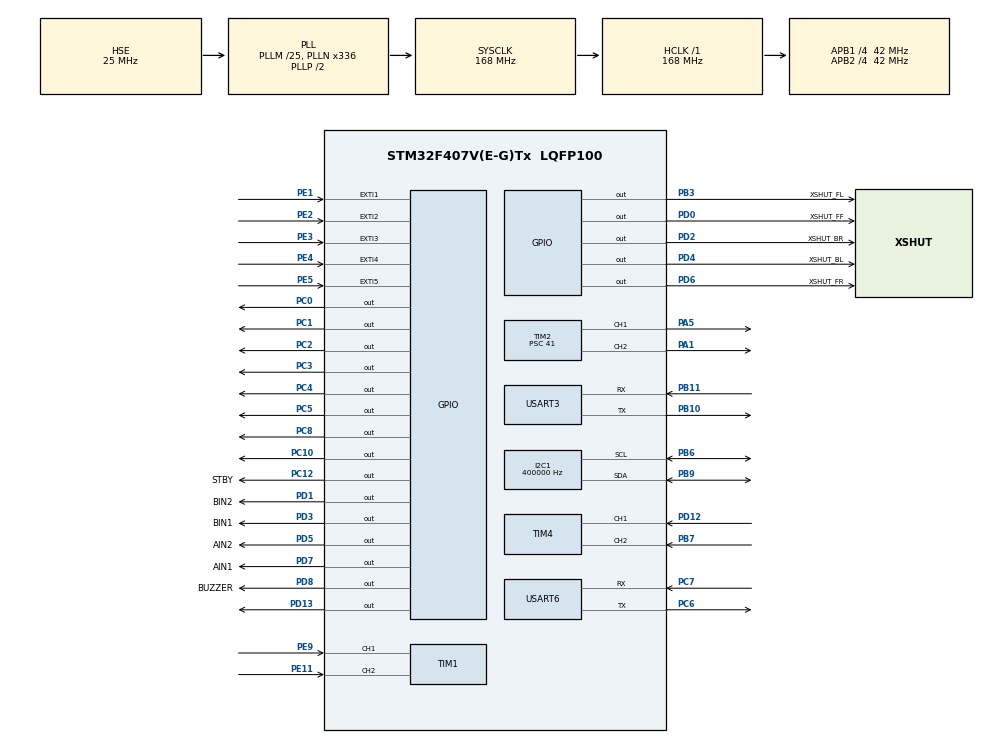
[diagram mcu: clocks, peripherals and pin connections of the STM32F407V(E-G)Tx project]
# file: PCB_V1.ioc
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Dma.Request0=USART3_RX
Dma.USART3_RX.0.Direction=DMA_PERIPH_TO_MEMORY
Dma.USART3_RX.0.FIFOMode=DMA_FIFOMODE_DISABLE
Dma.USART3_RX.0.Instance=DMA1_Stream1
Dma.USART3_RX.0.MemDataAlignment=DMA_MDATAALIGN_BYTE
Dma.USART3_RX.0.MemInc=DMA_MINC_ENABLE
Dma.USART3_RX.0.Mode=DMA_NORMAL
Dma.USART3_RX.0.PeriphDataAlignment=DMA_PDATAALIGN_BYTE
Dma.USART3_RX.0.PeriphInc=DMA_PINC_DISABLE
Dma.USART3_RX.0.Priority=DMA_PRIORITY_LOW
I2C1.AddressingMode=I2C_ADDRESSINGMODE_7BIT
I2C1.ClockSpeed=400000
I2C1.DualAddressMode=I2C_DUALADDRESS_DISABLE
I2C1.GeneralCallMode=I2C_GENERALCALL_DISABLE
I2C1.I2C_Mode=I2C_Fast
I2C1.NoStretchMode=I2C_NOSTRETCH_ENABLE
I2C1.OwnAddress=0
Mcu.Family=STM32F4
Mcu.Name=STM32F407V(E-G)Tx
Mcu.Package=LQFP100
NVIC.DMA1_Stream1_IRQn=true\:0\:0\:true\:false\:true\:false\:true\:true
NVIC.EXTI1_IRQn=true\:0\:0\:false\:false\:true\:true\:true\:true
NVIC.EXTI2_IRQn=true\:0\:0\:false\:false\:true\:true\:true\:true
NVIC.EXTI3_IRQn=true\:0\:0\:false\:false\:true\:true\:true\:true
NVIC.EXTI4_IRQn=true\:0\:0\:false\:false\:true\:true\:true\:true
NVIC.EXTI9_5_IRQn=true\:0\:0\:false\:false\:true\:true\:true\:true
NVIC.PriorityGroup=NVIC_PRIORITYGROUP_4
NVIC.TIM1_BRK_TIM9_IRQn=true\:2\:0\:true\:false\:true\:true\:true\:true
NVIC.TIM1_UP_TIM10_IRQn=true\:3\:0\:true\:false\:true\:true\:true\:true
PA1.Signal=S_TIM2_CH2
PA13.Mode=Serial_Wire
PA13.Signal=SYS_JTMS-SWDIO
PA14.Mode=Serial_Wire
PA14.Signal=SYS_JTCK-SWCLK
PA5.Signal=S_TIM2_CH1_ETR
PB10.GPIO_PuPd=GPIO_PULLUP
PB10.Mode=Asynchronous
PB10.Signal=USART3_TX
PB11.GPIO_PuPd=GPIO_PULLUP
PB11.Mode=Asynchronous
PB11.Signal=USART3_RX
PB3.GPIO_Label=XSHUT_FL
PB3.Signal=GPIO_Output
PB6.GPIO_Pu=GPIO_NOPULL
PB6.Mode=I2C
PB6.Signal=I2C1_SCL
PB7.Signal=S_TIM4_CH2
PB9.GPIO_Pu=GPIO_NOPULL
PB9.Mode=I2C
PB9.Signal=I2C1_SDA
PC0.Signal=GPIO_Output
PC1.Signal=GPIO_Output
PC10.Signal=GPIO_Output
PC12.GPIO_Label=STBY
PC12.Signal=GPIO_Output
PC2.Signal=GPIO_Output
PC3.Signal=GPIO_Output
PC4.Signal=GPIO_Output
PC5.Signal=GPIO_Output
PC6.Mode=Asynchronous
PC6.Signal=USART6_TX
PC7.Mode=Asynchronous
PC7.Signal=USART6_RX
PC8.Signal=GPIO_Output
PD0.GPIO_Label=XSHUT_FF
PD0.Signal=GPIO_Output
PD1.GPIO_Label=BIN2
PD1.Signal=GPIO_Output
PD12.Signal=S_TIM4_CH1
PD13.Signal=GPIO_Output
PD2.GPIO_Label=XSHUT_BR
PD2.Signal=GPIO_Output
PD3.GPIO_Label=BIN1
PD3.Signal=GPIO_Output
PD4.GPIO_Label=XSHUT_BL
PD4.Signal=GPIO_Output
PD5.GPIO_Label=AIN2
PD5.Signal=GPIO_Output
PD6.GPIO_Label=XSHUT_FR
PD6.Signal=GPIO_Output
PD7.GPIO_Label=AIN1
PD7.Signal=GPIO_Output
PD8.GPIO_Label=BUZZER
PD8.GPIO_ModeDefaultOutputPP=GPIO_MODE_OUTPUT_OD
PD8.GPIO_PuPd=GPIO_NOPULL
PD8.PinState=GPIO_PIN_SET
PD8.Signal=GPIO_Output
PE1.Signal=GPXTI1
PE11.Signal=S_TIM1_CH2
PE2.Signal=GPXTI2
PE3.Signal=GPXTI3
PE4.Signal=GPXTI4
PE5.Signal=GPXTI5
PE9.Signal=S_TIM1_CH1
PH0-OSC_IN.Mode=HSE-External-Oscillator
PH0-OSC_IN.Signal=RCC_OSC_IN
PH1-OSC_OUT.Mode=HSE-External-Oscillator
PH1-OSC_OUT.Signal=RCC_OSC_OUT
ProjectManager.HeapSize=0x200
ProjectManager.StackSize=0x400
ProjectManager.TargetToolchain=Makefile
RCC.48MHZClocksFreq_Value=84000000
RCC.AHBFreq_Value=168000000
RCC.APB1CLKDivider=RCC_HCLK_DIV4
RCC.APB1Freq_Value=42000000
RCC.APB1TimFreq_Value=84000000
RCC.APB2CLKDivider=RCC_HCLK_DIV4
RCC.APB2Freq_Value=42000000
RCC.APB2TimFreq_Value=84000000
RCC.CortexFreq_Value=168000000
RCC.FLatency=FLASH_LATENCY_5
RCC.HCLKFreq_Value=168000000
RCC.HSE_VALUE=25000000
RCC.HSI_VALUE=16000000
RCC.LSE_VALUE=32768
RCC.PLLM=25
RCC.PLLN=336
RCC.PLLSourceVirtual=RCC_PLLSOURCE_HSE
RCC.SYSCLKFreq_VALUE=168000000
RCC.SYSCLKSource=RCC_SYSCLKSOURCE_PLLCLK
RCC.VCOOutputFreq_Value=336000000
SH.S_TIM1_CH1.0=TIM1_CH1,Encoder_Interface
SH.S_TIM1_CH2.0=TIM1_CH2,Encoder_Interface
SH.S_TIM2_CH1_ETR.0=TIM2_CH1,PWM Generation1 CH1
SH.S_TIM2_CH2.0=TIM2_CH2,PWM Generation2 CH2
SH.S_TIM4_CH1.0=TIM4_CH1,Encoder_Interface
SH.S_TIM4_CH2.0=TIM4_CH2,Encoder_Interface
TIM1.AutoReloadPreload=TIM_AUTORELOAD_PRELOAD_ENABLE
TIM1.IC1Filter=10
TIM10.Period=200
TIM10.Prescaler=8399
TIM2.AutoReloadPreload=TIM_AUTORELOAD_PRELOAD_ENABLE
TIM2.Channel-PWM\ Generation1\ CH1=TIM_CHANNEL_1
TIM2.Channel-PWM\ Generation2\ CH2=TIM_CHANNEL_2
TIM2.ClockDivision=TIM_CLOCKDIVISION_DIV1
TIM2.CounterMode=TIM_COUNTERMODE_UP
TIM2.OC1Preload_PWM=ENABLE
TIM2.OC2Preload_PWM=ENABLE
TIM2.OCFastMode_PWM-PWM\ Generation1\ CH1=TIM_OCFAST_DISABLE
TIM2.OCFastMode_PWM-PWM\ Generation2\ CH2=TIM_OCFAST_DISABLE
TIM2.OCMode_PWM-PWM\ Generation1\ CH1=TIM_OCMODE_PWM1
TIM2.OCMode_PWM-PWM\ Generation2\ CH2=TIM_OCMODE_PWM1
TIM2.OCPolarity_1=TIM_OCPOLARITY_HIGH
TIM2.OCPolarity_2=TIM_OCPOLARITY_HIGH
TIM2.Period=99
TIM2.Prescaler=41
TIM2.Pulse-PWM\ Generation1\ CH1=0
TIM2.Pulse-PWM\ Generation2\ CH2=0
TIM2.TIM_MasterOutputTrigger=TIM_TRGO_RESET
TIM2.TIM_MasterSlaveMode=TIM_MASTERSLAVEMODE_DISABLE
TIM4.AutoReloadPreload=TIM_AUTORELOAD_PRELOAD_ENABLE
TIM4.IC1Filter=10
TIM4.IC1Polarity=TIM_ICPOLARITY_FALLING
TIM9.Period=250
TIM9.Prescaler=8399
USART3.VirtualMode=VM_ASYNC
USART6.VirtualMode=VM_ASYNC
VP_TIM10_VS_ClockSourceINT.Mode=Enable_Timer
VP_TIM2_VS_ClockSourceINT.Mode=Internal
VP_TIM9_VS_ClockSourceINT.Mode=Internal
board=custom

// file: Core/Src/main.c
/* USER CODE BEGIN Header */
/**
 ******************************************************************************
 * @file           : main.c
 * @brief          : Main program body
 ******************************************************************************
 * @attention
 *
 * Copyright (c) 2023 STMicroelectronics.
 * All rights reserved.
 *
 * This software is licensed under terms that can be found in the LICENSE file
 * in the root directory of this software component.
 * If no LICENSE file comes with this software, it is provided AS-IS.
 *
 ******************************************************************************
 */
/* USER CODE END Header */
#include "main.h"

/* USER CODE BEGIN Includes */
// #include "stdio.h"

#include "AML_MPUSensor.h"
#include "AML_LaserSensor.h"
#include "AML_Keyboard.h"
#include "AML_Encoder.h"
#include "AML_MotorControl.h"
#include "AML_DebugDevice.h"
#include "AML_Remote.h"
#include "AML_Parameter.h"

// #include "flood.h"
#include "solver.h"
// #include "AML_Remote.h"
/* USER CODE END Includes */

I2C_HandleTypeDef hi2c1;

TIM_HandleTypeDef htim1;
TIM_HandleTypeDef htim2;
TIM_HandleTypeDef htim4;
TIM_HandleTypeDef htim9;
TIM_HandleTypeDef htim10;

UART_HandleTypeDef huart3;
UART_HandleTypeDef huart6;
DMA_HandleTypeDef hdma_usart3_rx;

/* USER CODE BEGIN PV */
uint8_t ButtonPressed;

int16_t debug[100];
uint8_t checkWorking[] = {0xFF, 0xAA, 0x52};

// 1 to turn on, 0 to turn off

volatile uint8_t ReadButton;
volatile uint8_t RemarkAfterTurnMode = 1;
volatile uint8_t RemarkWallMode = 1;
volatile uint8_t RemarkAfterBackwardMode = 1;

volatile uint8_t CalibBeforeTurn = 1;
volatile uint8_t CalibAfterTurn = 1;

double testAngle;
// int16_t LeftValue, RightValue;
double LeftSpeed, RightSpeed;

uint32_t delay = 500;

///////////////////////////////////////////////////////////////////////////////////////////////////////////////////

// // choose which algorithm to use in the beginning of the run
// int algorithm;
// struct dist_maze distances;
// struct wall_maze cell_walls_info;
// struct stack update_stack;
// struct stack move_queue;

/* USER CODE END PV */

void SystemClock_Config(void);
static void MX_GPIO_Init(void);
static void MX_DMA_Init(void);
static void MX_I2C1_Init(void);
static void MX_TIM2_Init(void);
static void MX_USART3_UART_Init(void);
static void MX_TIM1_Init(void);
static void MX_TIM4_Init(void);
static void MX_USART6_UART_Init(void);
static void MX_TIM9_Init(void);
static void MX_TIM10_Init(void);
/* USER CODE BEGIN PFP */
void TestLaser(void);
void TestMotor(void);
void TestMPU(void);
void TestTurning(void);
void EncoderTest(void);
void TestMPUFollow(void);
void SystemTest(void);

void TurnOnRemarkAfterTurn(void);
void TurnOffRemarkAfterTurn(void);

void TurnOnRemarkWall(void);
void TurnOffRemarkWall(void);

void SetTicks(void);

void TestMode(void);
void RemarkMode(void);

void Run(int);
void ShortestPath(void);
void RunMode(void);

void RunNewAlgorithm(void);

/* USER CODE END PFP */

/* USER CODE BEGIN 0 */
// int fputc(int ch, FILE *f)
// {
//   ITM_SendChar(ch); // send method for SWV
//   return (ch);
// }

////////////////////////////////////////////////////////////////////////////////////////////////

/* USER CODE END 0 */

int main(void)
{

  /* MCU Configuration--------------------------------------------------------*/

  /* Reset of all peripherals, Initializes the Flash interface and the Systick. */
  HAL_Init();

  /* Configure the system clock */
  SystemClock_Config();

  /* Initialize all configured peripherals */
  MX_GPIO_Init();
  MX_DMA_Init();
  MX_I2C1_Init();
  MX_TIM2_Init();
  MX_USART3_UART_Init();
  MX_TIM1_Init();
  MX_TIM4_Init();
  MX_USART6_UART_Init();
  MX_TIM9_Init();
  MX_TIM10_Init();
  /* USER CODE BEGIN 2 */
  AML_MPUSensor_Setup();
  // AML_Keyboard_Setup();
  AML_LaserSensor_Setup();
  AML_Encoder_Setup();
  AML_MotorControl_Setup();
  AML_Remote_Setup();

  HAL_TIM_Base_Start_IT(&htim10);

  ReadButton = 8;

  for (int i = 0; i < 3; i++)
  {
    AML_LaserSensor_ReadAll();
    HAL_Delay(35);
  }

  AML_LaserSensor_ReadAll();
  AML_LaserSensor_ReadAll();
  AML_LaserSensor_ReadAll();

  AML_DebugDevice_BuzzerBeep(20);

  // AML_DebugDevice_TurnOnIT();

  // HAL_Delay(5000);

  // AML_DebugDevice_TurnOffIT();

  /* USER CODE END 2 */

  /* Infinite loop */
  /* USER CODE BEGIN WHILE */
  while (1)
  {
    if (ButtonPressed)
    {
      AML_DebugDevice_BuzzerBeep(20);
      ButtonPressed = 0;
    }

    // AML_LaserSensor_ReadAll();
    for (int i = 0; i < 5; i++)
    {
      debug[i] = AML_LaserSensor_ReadSingleWithFillter(i);
    }

    // AML_LaserSensor_ReadAll();

    // AML_LaserSensor_ReadSingleWithFillter(FF);

    if (ReadButton == 0) // set left wall value
    {
      SetTicks();
      ReadButton = 8;
    }
    else if (ReadButton == 1) // set right wall value
    {
      RemarkMode();
      ReadButton = 8;
    }
    else if (ReadButton == 2)
    {
      TestMode();
      ReadButton = 8;
    }
    else if (ReadButton == 3)
    {
      ReadButton = 8;
      AML_MotorControl_MoveForward(100, 10);
    }
    else if (ReadButton == 4)
    {
      // RunMode();
      ReadButton = 8;
      RunNewAlgorithm();

      // AML_MotorControl_TurnOnWallFollow();
    }

    testAngle = AML_MPUSensor_GetAngle();

    // AML_MotorControl_LeftPWM(-6);
    // AML_MotorControl_RightPWM(6);

    // debug[13] = AML_Encoder_GetLeftValue();
    // debug[14] = AML_Encoder_GetRightValue();

    /* USER CODE END WHILE */

  }
}

void SystemClock_Config(void)
{
  RCC_OscInitTypeDef RCC_OscInitStruct = {0};
  RCC_ClkInitTypeDef RCC_ClkInitStruct = {0};

  /** Configure the main internal regulator output voltage
   */
  __HAL_RCC_PWR_CLK_ENABLE();
  __HAL_PWR_VOLTAGESCALING_CONFIG(PWR_REGULATOR_VOLTAGE_SCALE1);

  /** Initializes the RCC Oscillators according to the specified parameters
   * in the RCC_OscInitTypeDef structure.
   */
  RCC_OscInitStruct.OscillatorType = RCC_OSCILLATORTYPE_HSE;
  RCC_OscInitStruct.HSEState = RCC_HSE_ON;
  RCC_OscInitStruct.PLL.PLLState = RCC_PLL_ON;
  RCC_OscInitStruct.PLL.PLLSource = RCC_PLLSOURCE_HSE;
  RCC_OscInitStruct.PLL.PLLM = 25;
  RCC_OscInitStruct.PLL.PLLN = 336;
  RCC_OscInitStruct.PLL.PLLP = RCC_PLLP_DIV2;
  RCC_OscInitStruct.PLL.PLLQ = 4;
  if (HAL_RCC_OscConfig(&RCC_OscInitStruct) != HAL_OK)
  {
    Error_Handler();
  }

  /** Initializes the CPU, AHB and APB buses clocks
   */
  RCC_ClkInitStruct.ClockType = RCC_CLOCKTYPE_HCLK | RCC_CLOCKTYPE_SYSCLK | RCC_CLOCKTYPE_PCLK1 | RCC_CLOCKTYPE_PCLK2;
  RCC_ClkInitStruct.SYSCLKSource = RCC_SYSCLKSOURCE_PLLCLK;
  RCC_ClkInitStruct.AHBCLKDivider = RCC_SYSCLK_DIV1;
  RCC_ClkInitStruct.APB1CLKDivider = RCC_HCLK_DIV4;
  RCC_ClkInitStruct.APB2CLKDivider = RCC_HCLK_DIV4;

  if (HAL_RCC_ClockConfig(&RCC_ClkInitStruct, FLASH_LATENCY_5) != HAL_OK)
  {
    Error_Handler();
  }
}

static void MX_I2C1_Init(void)
{

  hi2c1.Instance = I2C1;
  hi2c1.Init.ClockSpeed = 400000;
  hi2c1.Init.DutyCycle = I2C_DUTYCYCLE_2;
  hi2c1.Init.OwnAddress1 = 0;
  hi2c1.Init.AddressingMode = I2C_ADDRESSINGMODE_7BIT;
  hi2c1.Init.DualAddressMode = I2C_DUALADDRESS_DISABLE;
  hi2c1.Init.OwnAddress2 = 0;
  hi2c1.Init.GeneralCallMode = I2C_GENERALCALL_DISABLE;
  hi2c1.Init.NoStretchMode = I2C_NOSTRETCH_ENABLE;
  if (HAL_I2C_Init(&hi2c1) != HAL_OK)
  {
    Error_Handler();
  }
}

static void MX_TIM1_Init(void)
{

  TIM_Encoder_InitTypeDef sConfig = {0};
  TIM_MasterConfigTypeDef sMasterConfig = {0};

  htim1.Instance = TIM1;
  htim1.Init.Prescaler = 0;
  htim1.Init.CounterMode = TIM_COUNTERMODE_UP;
  htim1.Init.Period = 65535;
  htim1.Init.ClockDivision = TIM_CLOCKDIVISION_DIV1;
  htim1.Init.RepetitionCounter = 0;
  htim1.Init.AutoReloadPreload = TIM_AUTORELOAD_PRELOAD_ENABLE;
  sConfig.EncoderMode = TIM_ENCODERMODE_TI1;
  sConfig.IC1Polarity = TIM_ICPOLARITY_RISING;
  sConfig.IC1Selection = TIM_ICSELECTION_DIRECTTI;
  sConfig.IC1Prescaler = TIM_ICPSC_DIV1;
  sConfig.IC1Filter = 10;
  sConfig.IC2Polarity = TIM_ICPOLARITY_RISING;
  sConfig.IC2Selection = TIM_ICSELECTION_DIRECTTI;
  sConfig.IC2Prescaler = TIM_ICPSC_DIV1;
  sConfig.IC2Filter = 0;
  if (HAL_TIM_Encoder_Init(&htim1, &sConfig) != HAL_OK)
  {
    Error_Handler();
  }
  sMasterConfig.MasterOutputTrigger = TIM_TRGO_RESET;
  sMasterConfig.MasterSlaveMode = TIM_MASTERSLAVEMODE_DISABLE;
  if (HAL_TIMEx_MasterConfigSynchronization(&htim1, &sMasterConfig) != HAL_OK)
  {
    Error_Handler();
  }
}

static void MX_TIM2_Init(void)
{

  TIM_ClockConfigTypeDef sClockSourceConfig = {0};
  TIM_MasterConfigTypeDef sMasterConfig = {0};
  TIM_OC_InitTypeDef sConfigOC = {0};

  htim2.Instance = TIM2;
  htim2.Init.Prescaler = 41;
  htim2.Init.CounterMode = TIM_COUNTERMODE_UP;
  htim2.Init.Period = 99;
  htim2.Init.ClockDivision = TIM_CLOCKDIVISION_DIV1;
  htim2.Init.AutoReloadPreload = TIM_AUTORELOAD_PRELOAD_ENABLE;
  if (HAL_TIM_Base_Init(&htim2) != HAL_OK)
  {
    Error_Handler();
  }
  sClockSourceConfig.ClockSource = TIM_CLOCKSOURCE_INTERNAL;
  if (HAL_TIM_ConfigClockSource(&htim2, &sClockSourceConfig) != HAL_OK)
  {
    Error_Handler();
  }
  if (HAL_TIM_PWM_Init(&htim2) != HAL_OK)
  {
    Error_Handler();
  }
  sMasterConfig.MasterOutputTrigger = TIM_TRGO_RESET;
  sMasterConfig.MasterSlaveMode = TIM_MASTERSLAVEMODE_DISABLE;
  if (HAL_TIMEx_MasterConfigSynchronization(&htim2, &sMasterConfig) != HAL_OK)
  {
    Error_Handler();
  }
  sConfigOC.OCMode = TIM_OCMODE_PWM1;
  sConfigOC.Pulse = 0;
  sConfigOC.OCPolarity = TIM_OCPOLARITY_HIGH;
  sConfigOC.OCFastMode = TIM_OCFAST_DISABLE;
  if (HAL_TIM_PWM_ConfigChannel(&htim2, &sConfigOC, TIM_CHANNEL_1) != HAL_OK)
  {
    Error_Handler();
  }
  if (HAL_TIM_PWM_ConfigChannel(&htim2, &sConfigOC, TIM_CHANNEL_2) != HAL_OK)
  {
    Error_Handler();
  }
  HAL_TIM_MspPostInit(&htim2);
}

static void MX_TIM4_Init(void)
{

  TIM_Encoder_InitTypeDef sConfig = {0};
  TIM_MasterConfigTypeDef sMasterConfig = {0};

  htim4.Instance = TIM4;
  htim4.Init.Prescaler = 0;
  htim4.Init.CounterMode = TIM_COUNTERMODE_UP;
  htim4.Init.Period = 65535;
  htim4.Init.ClockDivision = TIM_CLOCKDIVISION_DIV1;
  htim4.Init.AutoReloadPreload = TIM_AUTORELOAD_PRELOAD_ENABLE;
  sConfig.EncoderMode = TIM_ENCODERMODE_TI1;
  sConfig.IC1Polarity = TIM_ICPOLARITY_FALLING;
  sConfig.IC1Selection = TIM_ICSELECTION_DIRECTTI;
  sConfig.IC1Prescaler = TIM_ICPSC_DIV1;
  sConfig.IC1Filter = 10;
  sConfig.IC2Polarity = TIM_ICPOLARITY_RISING;
  sConfig.IC2Selection = TIM_ICSELECTION_DIRECTTI;
  sConfig.IC2Prescaler = TIM_ICPSC_DIV1;
  sConfig.IC2Filter = 0;
  if (HAL_TIM_Encoder_Init(&htim4, &sConfig) != HAL_OK)
  {
    Error_Handler();
  }
  sMasterConfig.MasterOutputTrigger = TIM_TRGO_RESET;
  sMasterConfig.MasterSlaveMode = TIM_MASTERSLAVEMODE_DISABLE;
  if (HAL_TIMEx_MasterConfigSynchronization(&htim4, &sMasterConfig) != HAL_OK)
  {
    Error_Handler();
  }
}

static void MX_TIM9_Init(void)
{

  TIM_ClockConfigTypeDef sClockSourceConfig = {0};

  htim9.Instance = TIM9;
  htim9.Init.Prescaler = 8399;
  htim9.Init.CounterMode = TIM_COUNTERMODE_UP;
  htim9.Init.Period = 250;
  htim9.Init.ClockDivision = TIM_CLOCKDIVISION_DIV1;
  htim9.Init.AutoReloadPreload = TIM_AUTORELOAD_PRELOAD_DISABLE;
  if (HAL_TIM_Base_Init(&htim9) != HAL_OK)
  {
    Error_Handler();
  }
  sClockSourceConfig.ClockSource = TIM_CLOCKSOURCE_INTERNAL;
  if (HAL_TIM_ConfigClockSource(&htim9, &sClockSourceConfig) != HAL_OK)
  {
    Error_Handler();
  }
}

static void MX_TIM10_Init(void)
{

  htim10.Instance = TIM10;
  htim10.Init.Prescaler = 8399;
  htim10.Init.CounterMode = TIM_COUNTERMODE_UP;
  htim10.Init.Period = 200;
  htim10.Init.ClockDivision = TIM_CLOCKDIVISION_DIV1;
  htim10.Init.AutoReloadPreload = TIM_AUTORELOAD_PRELOAD_DISABLE;
  if (HAL_TIM_Base_Init(&htim10) != HAL_OK)
  {
    Error_Handler();
  }
}

static void MX_USART3_UART_Init(void)
{

  huart3.Instance = USART3;
  huart3.Init.BaudRate = 115200;
  huart3.Init.WordLength = UART_WORDLENGTH_8B;
  huart3.Init.StopBits = UART_STOPBITS_1;
  huart3.Init.Parity = UART_PARITY_NONE;
  huart3.Init.Mode = UART_MODE_TX_RX;
  huart3.Init.HwFlowCtl = UART_HWCONTROL_NONE;
  huart3.Init.OverSampling = UART_OVERSAMPLING_16;
  if (HAL_UART_Init(&huart3) != HAL_OK)
  {
    Error_Handler();
  }
}

static void MX_USART6_UART_Init(void)
{

  huart6.Instance = USART6;
  huart6.Init.BaudRate = 115200;
  huart6.Init.WordLength = UART_WORDLENGTH_8B;
  huart6.Init.StopBits = UART_STOPBITS_1;
  huart6.Init.Parity = UART_PARITY_NONE;
  huart6.Init.Mode = UART_MODE_TX_RX;
  huart6.Init.HwFlowCtl = UART_HWCONTROL_NONE;
  huart6.Init.OverSampling = UART_OVERSAMPLING_16;
  if (HAL_UART_Init(&huart6) != HAL_OK)
  {
    Error_Handler();
  }
}

static void MX_DMA_Init(void)
{

  /* DMA controller clock enable */
  __HAL_RCC_DMA1_CLK_ENABLE();

  /* DMA interrupt init */
  /* DMA1_Stream1_IRQn interrupt configuration */
  HAL_NVIC_SetPriority(DMA1_Stream1_IRQn, 0, 0);
  HAL_NVIC_EnableIRQ(DMA1_Stream1_IRQn);
}

static void MX_GPIO_Init(void)
{
  GPIO_InitTypeDef GPIO_InitStruct = {0};

  /* GPIO Ports Clock Enable */
  __HAL_RCC_GPIOE_CLK_ENABLE();
  __HAL_RCC_GPIOH_CLK_ENABLE();
  __HAL_RCC_GPIOC_CLK_ENABLE();
  __HAL_RCC_GPIOA_CLK_ENABLE();
  __HAL_RCC_GPIOB_CLK_ENABLE();
  __HAL_RCC_GPIOD_CLK_ENABLE();

  /*Configure GPIO pin Output Level */
  HAL_GPIO_WritePin(GPIOC, GPIO_PIN_0 | GPIO_PIN_1 | GPIO_PIN_2 | GPIO_PIN_3 | GPIO_PIN_4 | GPIO_PIN_5 | GPIO_PIN_8 | GPIO_PIN_10 | STBY_Pin, GPIO_PIN_RESET);

  /*Configure GPIO pin Output Level */
  HAL_GPIO_WritePin(BUZZER_GPIO_Port, BUZZER_Pin, GPIO_PIN_SET);

  /*Configure GPIO pin Output Level */
  HAL_GPIO_WritePin(GPIOD, GPIO_PIN_13 | XSHUT_FF_Pin | BIN2_Pin | XSHUT_BR_Pin | BIN1_Pin | XSHUT_BL_Pin | AIN2_Pin | XSHUT_FR_Pin | AIN1_Pin, GPIO_PIN_RESET);

  /*Configure GPIO pin Output Level */
  HAL_GPIO_WritePin(XSHUT_FL_GPIO_Port, XSHUT_FL_Pin, GPIO_PIN_RESET);

  /*Configure GPIO pins : PE2 PE3 PE4 PE5
                           PE1 */
  GPIO_InitStruct.Pin = GPIO_PIN_2 | GPIO_PIN_3 | GPIO_PIN_4 | GPIO_PIN_5 | GPIO_PIN_1;
  GPIO_InitStruct.Mode = GPIO_MODE_IT_RISING;
  GPIO_InitStruct.Pull = GPIO_NOPULL;
  HAL_GPIO_Init(GPIOE, &GPIO_InitStruct);

  /*Configure GPIO pins : PC0 PC1 PC2 PC3
                           PC4 PC5 PC8 PC10
                           STBY_Pin */
  GPIO_InitStruct.Pin = GPIO_PIN_0 | GPIO_PIN_1 | GPIO_PIN_2 | GPIO_PIN_3 | GPIO_PIN_4 | GPIO_PIN_5 | GPIO_PIN_8 | GPIO_PIN_10 | STBY_Pin;
  GPIO_InitStruct.Mode = GPIO_MODE_OUTPUT_PP;
  GPIO_InitStruct.Pull = GPIO_NOPULL;
  GPIO_InitStruct.Speed = GPIO_SPEED_FREQ_LOW;
  HAL_GPIO_Init(GPIOC, &GPIO_InitStruct);

  /*Configure GPIO pin : BUZZER_Pin */
  GPIO_InitStruct.Pin = BUZZER_Pin;
  GPIO_InitStruct.Mode = GPIO_MODE_OUTPUT_OD;
  GPIO_InitStruct.Pull = GPIO_NOPULL;
  GPIO_InitStruct.Speed = GPIO_SPEED_FREQ_LOW;
  HAL_GPIO_Init(BUZZER_GPIO_Port, &GPIO_InitStruct);

  /*Configure GPIO pins : PD13 XSHUT_FF_Pin BIN2_Pin XSHUT_BR_Pin
                           BIN1_Pin XSHUT_BL_Pin AIN2_Pin XSHUT_FR_Pin
                           AIN1_Pin */
  GPIO_InitStruct.Pin = GPIO_PIN_13 | XSHUT_FF_Pin | BIN2_Pin | XSHUT_BR_Pin | BIN1_Pin | XSHUT_BL_Pin | AIN2_Pin | XSHUT_FR_Pin | AIN1_Pin;
  GPIO_InitStruct.Mode = GPIO_MODE_OUTPUT_PP;
  GPIO_InitStruct.Pull = GPIO_NOPULL;
  GPIO_InitStruct.Speed = GPIO_SPEED_FREQ_LOW;
  HAL_GPIO_Init(GPIOD, &GPIO_InitStruct);

  /*Configure GPIO pin : XSHUT_FL_Pin */
  GPIO_InitStruct.Pin = XSHUT_FL_Pin;
  GPIO_InitStruct.Mode = GPIO_MODE_OUTPUT_PP;
  GPIO_InitStruct.Pull = GPIO_NOPULL;
  GPIO_InitStruct.Speed = GPIO_SPEED_FREQ_LOW;
  HAL_GPIO_Init(XSHUT_FL_GPIO_Port, &GPIO_InitStruct);

  /* EXTI interrupt init*/
  HAL_NVIC_SetPriority(EXTI1_IRQn, 0, 0);
  HAL_NVIC_EnableIRQ(EXTI1_IRQn);

  HAL_NVIC_SetPriority(EXTI2_IRQn, 0, 0);
  HAL_NVIC_EnableIRQ(EXTI2_IRQn);

  HAL_NVIC_SetPriority(EXTI3_IRQn, 0, 0);
  HAL_NVIC_EnableIRQ(EXTI3_IRQn);

  HAL_NVIC_SetPriority(EXTI4_IRQn, 0, 0);
  HAL_NVIC_EnableIRQ(EXTI4_IRQn);

  HAL_NVIC_SetPriority(EXTI9_5_IRQn, 0, 0);
  HAL_NVIC_EnableIRQ(EXTI9_5_IRQn);

}

/* USER CODE BEGIN 4 */
void TestLaser(void)
{
  AML_DebugDevice_SetAllLED(GPIO_PIN_RESET);

  AML_LaserSensor_ReadAll();

  AML_DebugDevice_BuzzerBeep(100);
  HAL_Delay(200);

  for (int i = 0; i < 5; i++)
  {
    if (AML_LaserSensor_ReadSingleWithFillter(i) != 0)
    {
      AML_DebugDevice_TurnOnLED(i);
    }
  }

  HAL_Delay(1000); // �?ợi 1 giây

  AML_DebugDevice_BuzzerBeep(100);
}

void TestMotor(void)
{
  AML_DebugDevice_SetAllLED(GPIO_PIN_RESET);

  AML_Encoder_ResetLeftValue();
  AML_Encoder_ResetRightValue();

  while (AML_Encoder_GetLeftValue() < 1000 | AML_Encoder_GetRightValue() < 1000)
  {
    AML_MotorControl_LeftPWM(20);
    AML_MotorControl_RightPWM(20);
  }

  AML_MotorControl_Stop();

  AML_DebugDevice_TurnOnLED(0);

  AML_DebugDevice_BuzzerBeep(50);
  HAL_Delay(50);
  AML_DebugDevice_BuzzerBeep(50);
  HAL_Delay(50);

  AML_Encoder_ResetLeftValue();
  AML_Encoder_ResetRightValue();

  while (AML_Encoder_GetLeftValue() > -1000 | AML_Encoder_GetRightValue() > -1000)
  {
    AML_MotorControl_LeftPWM(-20);
    AML_MotorControl_RightPWM(-20);
  }

  AML_MotorControl_Stop();

  AML_DebugDevice_TurnOnLED(1);

  AML_DebugDevice_BuzzerBeep(50);
  HAL_Delay(50);
  AML_DebugDevice_BuzzerBeep(50);
  HAL_Delay(50);

  HAL_Delay(1000);

  AML_Encoder_ResetLeftValue();
  AML_Encoder_ResetRightValue();
}

void TestMPU(void)
{
  AML_DebugDevice_SetAllLED(GPIO_PIN_SET);

  while (AML_MPUSensor_GetAngle() == 0)
  {
    AML_DebugDevice_SetAllLED(GPIO_PIN_SET);

    HAL_Delay(100);

    AML_DebugDevice_SetAllLED(GPIO_PIN_RESET);

    HAL_Delay(100);
  }

  AML_DebugDevice_BuzzerBeep(50);
  HAL_Delay(50);
  AML_DebugDevice_BuzzerBeep(50);
  HAL_Delay(50);
  AML_DebugDevice_BuzzerBeep(50);
  HAL_Delay(50);

  AML_DebugDevice_SetAllLED(GPIO_PIN_RESET);
}

void TestTurning(void)
{
  RemarkAfterTurnMode = 1;

  AML_MPUSensor_ResetAngle();

  AML_MotorControl_TurnLeft90();
  AML_MotorControl_Stop();

  HAL_Delay(1000);

  AML_MotorControl_TurnRight90();
  AML_MotorControl_Stop();

  HAL_Delay(1000);

  AML_MotorControl_TurnLeft180();
  AML_MotorControl_Stop();

  HAL_Delay(1000);

  AML_MotorControl_TurnRight180();
  AML_MotorControl_Stop();

  RemarkAfterTurnMode = 0;
}

void EncoderTest(void)
{
  AML_MotorControl_TurnOnWallFollow();

  while (AML_Encoder_GetLeftValue() < ENCODER_TICKS_ONE_CELL && ReadButton != 2)
  {
  }

  AML_MotorControl_TurnOffWallFollow();
  AML_MotorControl_ShortBrake('F');
  AML_Encoder_ResetLeftValue();
  AML_DebugDevice_BuzzerBeep(30);

  HAL_Delay(1500);
}

void TestMPUFollow(void)
{
  AML_MPUSensor_ResetAngle();

  while (1)
  {
    AML_MotorControl_MPUFollow(0);
  }
}

void SystemTest(void)
{
  TestLaser();
  TestMotor();
  TestMPU();
}

/////////////////////////////////////////////////////////////////////////////////////

void TurnOnRemarkAfterTurn(void)
{
  RemarkAfterTurnMode = 1;
}

void TurnOffRemarkAfterTurn(void)
{
  RemarkAfterTurnMode = 0;
}

void TurnOnRemarkWall(void)
{
  RemarkWallMode = 1;
}

void TurnOffRemarkWall(void)
{
  RemarkWallMode = 0;
}

/////////////////////////////////////////////////////////////////////////////////////

void SetTicks(void)
{
  HAL_Delay(300);

  ReadButton = 8;

  AML_DebugDevice_SetAllLED(GPIO_PIN_SET);

  while (ReadButton == 8)
  {
  }

  AML_DebugDevice_SetAllLED(GPIO_PIN_RESET);

  if (ReadButton == 0)
  {
    AML_MotorControl_SetCenterPosition();
    AML_DebugDevice_BuzzerBeep(20);
    AML_DebugDevice_TurnOnLED(ReadButton);
    HAL_Delay(300);
    AML_DebugDevice_TurnOffLED(ReadButton);
  }
  else if (ReadButton == 1)
  {
    // SetBeforeTurnTicks(0);
    AML_DebugDevice_BuzzerBeep(20);
    // AML_DebugDevice_TurnOnLED(ReadButton);
    // HAL_Delay(300);
    // AML_DebugDevice_TurnOffLED(ReadButton);
  }
  else if (ReadButton == 2)
  {
    // SetBeforeTurnTicks(1);
    AML_DebugDevice_BuzzerBeep(20);
    // AML_DebugDevice_TurnOnLED(ReadButton);
    // HAL_Delay(300);
    // AML_DebugDevice_TurnOffLED(ReadButton);
  }
  else if (ReadButton == 3)
  {
    // SetAfterTurnTicks(0);
    AML_DebugDevice_BuzzerBeep(20);
    // AML_DebugDevice_TurnOnLED(ReadButton);
    // HAL_Delay(300);
    // AML_DebugDevice_TurnOffLED(ReadButton);
  }
  else if (ReadButton == 4)
  {
    // SetAfterTurnTicks(1);
    AML_DebugDevice_BuzzerBeep(20);
    // AML_DebugDevice_TurnOnLED(ReadButton);
    // HAL_Delay(300);
    // AML_DebugDevice_TurnOffLED(ReadButton);
  }
}

void TestMode(void)
{

  AML_DebugDevice_SetAllLED(GPIO_PIN_SET);

  HAL_Delay(300);
  ReadButton = 8;

  while (ReadButton == 8)
  {
  }

  AML_DebugDevice_SetAllLED(GPIO_PIN_RESET);

  if (ReadButton == 0)
  {
    SystemTest();
  }
  else if (ReadButton == 1)
  {
    TestTurning();
  }
  else if (ReadButton == 2)
  {
    TestMPUFollow();
  }
  else if (ReadButton == 3)
  {
    // advanceOneCellVisited();
    // AML_MotorControl_ShortBrake('F');
  }
}

void RemarkMode(void)
{
  HAL_Delay(300);

  ReadButton = 8;

  AML_DebugDevice_SetAllLED(GPIO_PIN_SET);

  while (ReadButton == 8)
  {
  }

  AML_DebugDevice_SetAllLED(GPIO_PIN_RESET);

  if (ReadButton == 0)
  {
    TurnOffRemarkAfterTurn();
    AML_DebugDevice_BuzzerBeep(20);
    AML_DebugDevice_TurnOnLED(ReadButton);
    HAL_Delay(300);
    AML_DebugDevice_TurnOffLED(ReadButton);
  }
  else if (ReadButton == 1)
  {
    TurnOnRemarkAfterTurn();
    AML_DebugDevice_BuzzerBeep(20);
    AML_DebugDevice_TurnOnLED(ReadButton);
    HAL_Delay(300);
    AML_DebugDevice_TurnOffLED(ReadButton);
  }
  else if (ReadButton == 2)
  {
    TurnOffRemarkWall();
    AML_DebugDevice_BuzzerBeep(20);
    AML_DebugDevice_TurnOnLED(ReadButton);
    HAL_Delay(300);
    AML_DebugDevice_TurnOffLED(ReadButton);
  }
  else if (ReadButton == 3)
  {
    TurnOnRemarkAfterTurn();
    AML_DebugDevice_BuzzerBeep(20);
    AML_DebugDevice_TurnOnLED(ReadButton);
    HAL_Delay(300);
    AML_DebugDevice_TurnOffLED(ReadButton);
  }
  else if (ReadButton == 4)
  {
    RemarkAfterBackwardMode = 0;
    AML_DebugDevice_BuzzerBeep(20);
    AML_DebugDevice_TurnOnLED(ReadButton);
    HAL_Delay(300);
    AML_DebugDevice_TurnOffLED(ReadButton);
  }
}

////////////////////////////////////////////////////////////////////////////////////

void Run(int InitDirection)
{

  // AML_DebugDevice_SetAllLED(GPIO_PIN_SET);
  // AML_DebugDevice_BuzzerBeep(100);
  // HAL_Delay(100);
  // AML_DebugDevice_BuzzerBeep(100);

  // ReadButton = 8;

  // while (ReadButton == 8)
  // {
  // }

  // algorithm = ReadButton; // huong di uu tien

  // for (int i = 0; i < 3; i++)
  // {
  //   AML_DebugDevice_SetAllLED(GPIO_PIN_SET);
  //   AML_DebugDevice_BuzzerBeep(150);
  //   AML_DebugDevice_SetAllLED(GPIO_PIN_RESET);
  //   HAL_Delay(150);
  // }

  // AML_MPUSensor_ResetAngle();
  // HAL_Delay(1500);

  // // algorithm = wallFavor();                 // thay bang ham doc laser
  // // algorithm = AML_LaserSensor_WallFavor(); // can sua lai

  // // HAL_GPIO_WritePin(GPIOA, GPIO_PIN_6, GPIO_PIN_RESET);
  // // HAL_Delay(1000);

  // // initialize all the structs that we need for this to work
  // // change this coordinate for testing of different
  // // targets for floodfill
  // struct coor target;
  // init_coor(&target, 8, 7);

  // // to flood to center set third parameter to 1
  // init_distance_maze(&distances, &target, 1);

  // // initialize the walls
  // init_wall_maze(&cell_walls_info);

  // update_stack.index = 0;

  // int direction = InitDirection;

  // if (direction == NORTH)
  // {
  //   // if (AML_LaserSensor_ReadSingleWithoutFillter(BR) < WALL_IN_RIGHT)
  //   // {
  //   //   cell_walls_info.cells[0][0].walls[EAST] = 1;
  //   // }
  //   // else
  //   // {
  //   //   cell_walls_info.cells[0][0].walls[EAST] = 0;
  //   // }

  //   cell_walls_info.cells[0][0].walls[EAST] = 1;
  // }

  // if (direction == EAST)
  // {
  //   // if (AML_LaserSensor_ReadSingleWithoutFillter(BL) < WALL_IN_LEFT)
  //   // {
  //   //   cell_walls_info.cells[0][0].walls[NORTH] = 1;
  //   // }
  //   // else
  //   // {
  //   //   cell_walls_info.cells[0][0].walls[NORTH] = 0;
  //   // }

  //   cell_walls_info.cells[0][0].walls[NORTH] = 1;
  // }
  // // set east, south, west wall of start cell to true

  // cell_walls_info.cells[0][0].walls[SOUTH] = 1;
  // cell_walls_info.cells[0][0].walls[WEST] = 1;

  // // cell_walls_info.cells[0][0].visited = 1;

  // struct coor c;
  // init_coor(&c, 0, 0);

  // direction = floodFill1(&distances, &c, &cell_walls_info, algorithm, direction, &update_stack);

  // advanceOneCellVisited();
  // advanceOneCellVisited();
  // advanceOneCellVisited();

  // AML_MotorControl_ShortBrake('F');

  // for (int i = 0; i < 20; i++)
  // {
  //   AML_DebugDevice_SetAllLED(GPIO_PIN_SET);
  //   AML_DebugDevice_BuzzerBeep(50);
  //   HAL_Delay(100);
  //   AML_DebugDevice_SetAllLED(GPIO_PIN_RESET);
  //   HAL_Delay(100);
  // }

  // ////////////////////////////////////////////

  // AML_MotorControl_Stop();
  // return;

  // /////////////////////////////////////////////////

  // // it has some problems

  // direction = centerMovement(&cell_walls_info, &c, direction);

  // // ONCE IT REACHES HERE, IT HAS REACHED THE CENTER OF THE MAZE
  // // Mouse has made it to center, so flood back to start
  // init_coor(&target, 0, 0);
  // init_distance_maze(&distances, &target, 0);

  // // for (int i = 0; i < 10; i++)
  // // {
  // //   AML_DebugDevice_SetAllLED(GPIO_PIN_SET);
  // //   AML_DebugDevice_BuzzerBeep(50);
  // //   HAL_Delay(100);
  // //   AML_DebugDevice_SetAllLED(GPIO_PIN_RESET);
  // //   HAL_Delay(100);
  // // }

  // // center to start
  // logicalFlood(&distances, &c, &cell_walls_info, direction, direction, &update_stack);
  // direction = floodFill1(&distances, &c, &cell_walls_info, direction, direction, &update_stack);
  // int difference = direction - NORTH;
  // switch (difference)
  // {
  // case -3:
  //   // leftStillTurn();
  //   // AML_MotorControl_LeftStillTurn();
  //   AML_MotorControl_TurnLeft90();

  //   break;
  // case -2:
  //   // backward180StillTurn();
  //   // AML_MotorControl_BackStillTurn();
  //   AML_MotorControl_TurnLeft180();
  //   break;
  // case -1:
  //   // rightStillTurn();
  //   // AML_MotorControl_RightStillTurn();
  //   AML_MotorControl_TurnRight90();
  //   break;
  // case 0:
  //   break;
  // case 1:
  //   // leftStillTurn();
  //   // AML_MotorControl_LeftStillTurn();
  //   AML_MotorControl_TurnLeft90();
  //   break;
  // case 2:
  //   // backward180StillTurn();
  //   // AML_MotorControl_BackStillTurn();
  //   AML_MotorControl_TurnLeft180();
  //   break;
  // case 3:
  //   // rightStillTurn();
  //   // AML_MotorControl_RightStillTurn();
  //   AML_MotorControl_TurnRight90();
  //   break;
  // default:
  //   // turnOnLEDS();
  //   break;
  // }

  // direction = NORTH;
  // // start to center in "shortest path"
  // init_distance_maze(&distances, &c, 1);
  // logicalFlood(&distances, &c, &cell_walls_info, direction, direction, &update_stack);

  // // lockInterruptDisable_TIM3();
  // AML_MotorControl_TurnOffWallFollow();

  // // leftMotorPWMChangeBackward(200);
  // // rightMotorPWMChangeBackward(200);

  // // custom_delay(2000);
  // AML_MotorControl_LeftPWM(-20);
  // AML_MotorControl_RightPWM(-20);
  // HAL_Delay(2000);
  // AML_MPUSensor_ResetAngle();
  // AML_Encoder_ResetLeftValue();
  // AML_Encoder_ResetRightValue();

  // // motorStop();
  // AML_MotorControl_Stop();
  // // HAL_Delay(100);

  // // wallFavor();

  // for (int i = 0; i < 5; i++)
  // {
  //   AML_DebugDevice_SetAllLED(GPIO_PIN_SET);
  //   AML_DebugDevice_BuzzerBeep(50);
  //   HAL_Delay(100);
  //   AML_DebugDevice_SetAllLED(GPIO_PIN_RESET);
  //   HAL_Delay(100);
  // }

  // return;

  // // custom_delay(1000);

  // // cell_walls_info.cells[0][0].visited = 1;

  // shortestPath(&distances, &c, &cell_walls_info, direction, direction, &update_stack);

  // for (int i = 0; i < 5; i++)
  // {
  //   AML_DebugDevice_SetAllLED(GPIO_PIN_SET);
  //   AML_DebugDevice_BuzzerBeep(50);
  //   HAL_Delay(100);
  //   AML_DebugDevice_SetAllLED(GPIO_PIN_RESET);
  //   HAL_Delay(100);
  // }

  // // motorStop();
  // AML_MotorControl_Stop();

  // // turnOnLEDS();

  // // HAL_Delay(3000);
}

void ShortestPath(void)
{
  // for (int i = 0; i < 5; i++)
  // {
  //   AML_DebugDevice_SetAllLED(GPIO_PIN_SET);
  //   AML_DebugDevice_BuzzerBeep(50);
  //   HAL_Delay(100);
  //   AML_DebugDevice_SetAllLED(GPIO_PIN_RESET);
  //   HAL_Delay(100);
  // }

  // AML_MPUSensor_ResetAngle();
  // AML_MotorControl_ResetTempSetpoint();

  // int direction = NORTH;
  // struct coor c;
  // init_coor(&c, 0, 0);

  // logicalFlood(&distances, &c, &cell_walls_info, direction, direction, &update_stack);

  // HAL_Delay(1000);

  // shortestPath(&distances, &c, &cell_walls_info, direction, direction, &update_stack);

  // for (int i = 0; i < 20; i++)
  // {
  //   AML_DebugDevice_SetAllLED(GPIO_PIN_SET);
  //   AML_DebugDevice_BuzzerBeep(50);
  //   HAL_Delay(100);
  //   AML_DebugDevice_SetAllLED(GPIO_PIN_RESET);
  //   HAL_Delay(100);
  // }

  // return;
}

void RunMode(void)
{

  // AML_DebugDevice_BuzzerBeep(20);
  // AML_DebugDevice_SetAllLED(GPIO_PIN_SET);

  // HAL_Delay(100);

  // AML_DebugDevice_SetAllLED(GPIO_PIN_RESET);

  // HAL_Delay(100);

  // AML_DebugDevice_SetAllLED(GPIO_PIN_SET);

  // HAL_Delay(200);

  // ReadButton = 8;

  // uint32_t now = HAL_GetTick();

  // while (ReadButton == 8)
  // {
  //   if (HAL_GetTick() - now > 150)
  //   {
  //     AML_DebugDevice_ToggleAllLED();
  //     now = HAL_GetTick();
  //   }
  // }

  // if (ReadButton == 0)
  // {
  //   Run(NORTH);
  // }
  // else if (ReadButton == 1)
  // {
  //   Run(EAST);
  // }
}

void RunNewAlgorithm(void)
{
  // debug_log("Running...");

  setPriorityHeading(NORTH);

  setPosition(0, 0, NORTH);
  initialize();

  // start the search
  searchRun();

  // reached the center, now calculate the shortest path
  markCenterWall();
  calculateShortestPathDistances();

  while (ReadButton != 8)
  {
  }
  ReadButton = 8;

  // use hand to move the mouse to the start position, and find the shortest path
  // API_ackReset();
  setPosition(0, 0, NORTH);

  // run the shortest path
  fastRunWithVariableVelocity();

  while (ReadButton == 8)
  {
    // run from the center to the start
    searchCenterToStart();

    // updateDistances();
    calculateShortestPathDistances();

    // run the shortest path
    fastRunWithVariableVelocity();
  }
}

////////////////////////////////////////////////////////////////////////////////////////////////

/* USER CODE END 4 */

void Error_Handler(void)
{
  __disable_irq();
  while (1)
  {
  }
}
